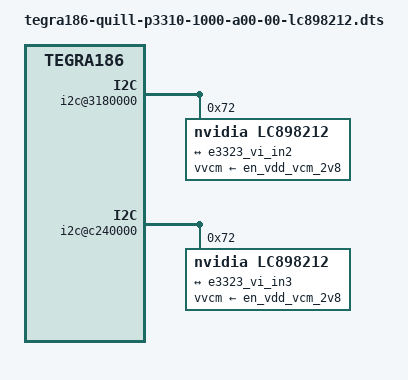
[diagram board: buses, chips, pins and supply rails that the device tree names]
/*
 * tegra186-quill-p3310-a00-00-lc898212.dts: DTS file for Quill, enables the
 * lc898212 focusers for E3323.
 *
 * Copyright (c) 2015-2017, NVIDIA CORPORATION. All rights reserved.
 *
 * This program is free software; you can redistribute it and/or modify
 * it under the terms of the GNU General Public License as published by
 * the Free Software Foundation; version 2 of the License.
 *
 * This program is distributed in the hope that it will be useful, but WITHOUT
 * ANY WARRANTY; without even the implied warranty of MERCHANTABILITY or
 * FITNESS FOR A PARTICULAR PURPOSE.  See the GNU General Public License for
 * more details.
 */

#include "tegra186-quill-p3310-1000-a00-00-base.dts"

/ {
	nvidia,dtsfilename = __FILE__;

	host1x {
		vi@15700000 {
			num-channels = <4>;
			ports {
				port@2 {
					status = "okay";
					reg = <2>;
					e3323_vi_in2: endpoint {
						status = "okay";
						port-index = <0>;
						bus-width = <4>;
						remote-endpoint = <&e3323_lc898212_out0>;
					};
				};
				port@3 {
					status = "okay";
					reg = <3>;
					e3323_vi_in3: endpoint {
						status = "okay";
						port-index = <2>;
						bus-width = <4>;
						remote-endpoint = <&e3323_lc898212_out1>;
					};
				};
			};
		};
	};

	i2c@3180000 {
		lc898212@72 {
			compatible = "nvidia,lc898212";
			reg = <0x72>;

			status = "okay";

			vvcm-supply = <&en_vdd_vcm_2v8>;
			support_mfi = "true";

			/* physical camera layer interface tags */
			devnode = "video2";
			/**
			* Type specifies the control features supported by
			* the focuser driver.
			* default type means only position control setting
			* supported by the focuser
			*/
			type = "default";
			min_focus_distance = "10.0"; /* 1.0f/0.1f */
			hyper_focal = "0.2"; /* 1.0f/5.0f */
			focal_length = "4.73";
			f_number = "2.2";
			aperture = "2.2";

			ports {
				#address-cells = <1>;
				#size-cells = <0>;
				port@0 {
					reg = <0>;
					e3323_lc898212_out0: endpoint {
						remote-endpoint = <&e3323_vi_in2>;
					};
				};
			};
		};
	};

	i2c@c240000 {
		lc898212@72 {
			compatible = "nvidia,lc898212";
			reg = <0x72>;

			status = "okay";

			vvcm-supply = <&en_vdd_vcm_2v8>;
			support_mfi = "true";

			/* physical camera layer interface tags */
			devnode = "video3";
			type = "default";
			min_focus_distance = "10.0"; /* 1.0f/0.1f */
			hyper_focal = "0.2"; /* 1.0f/5.0f */
			focal_length = "4.73";
			f_number = "2.2";
			aperture = "2.2";

			ports {
				#address-cells = <1>;
				#size-cells = <0>;
				port@0 {
					reg = <0>;
					e3323_lc898212_out1: endpoint {
						remote-endpoint = <&e3323_vi_in3>;
					};
				};
			};
		};
	};

	/* camera plugin-manager */
	plugin-manager {
		/* E3323 camera board */
		fragment-e3323@0 {
			/* enable E3323 focuser 0 */
			override@6 {
				target = <&cam_module0_drivernode1>;
				_overlay_ {
					status = "okay";
					/* Declare PCL support driver (classically known as guid)  */
					pcl_id = "v4l2_focuser";
					/* Driver v4l2 device name */
					devname = "lc898212 2-0072";
					/* Declare the device-tree hierarchy to driver instance */
					proc-device-tree = "/proc/device-tree/i2c@3180000/lc898212@72";
				};
			};
			/* enable E3323 focuser 1 */
			override@7 {
				target = <&cam_module1_drivernode1>;
				_overlay_ {
					status = "okay";
					/* Declare PCL support driver (classically known as guid)  */
					pcl_id = "v4l2_focuser";
					/* Driver v4l2 device name */
					devname = "lc898212 1-0072";
					/* Declare the device-tree hierarchy to driver instance */
					proc-device-tree = "/proc/device-tree/i2c@c240000/lc898212@72";
				};
			};
			/* enable VI ports */
			override@8 {
				target = <&vi_base>;
				_overlay_ {
					num-channels=<4>;
				};
			};
		};
	};

	tegra-camera-platform {
		modules {
			module0 {
				drivernode1 {
					status = "okay";
					/* Declare PCL support driver (classically known as guid)  */
					pcl_id = "v4l2_focuser";
					/* Driver v4l2 device name */
					devname = "lc898212 2-0072";
					/* Declare the device-tree hierarchy to driver instance */
					proc-device-tree = "/proc/device-tree/i2c@3180000/lc898212@72";
				};
			};
			module1 {
				drivernode1 {
					status = "okay";
					/* Declare PCL support driver (classically known as guid)  */
					pcl_id = "v4l2_focuser";
					/* Driver v4l2 device name */
					devname = "lc898212 1-0072";
					/* Declare the device-tree hierarchy to driver instance */
					proc-device-tree = "/proc/device-tree/i2c@c240000/lc898212@72";
				};
			};
		};
	};

};
